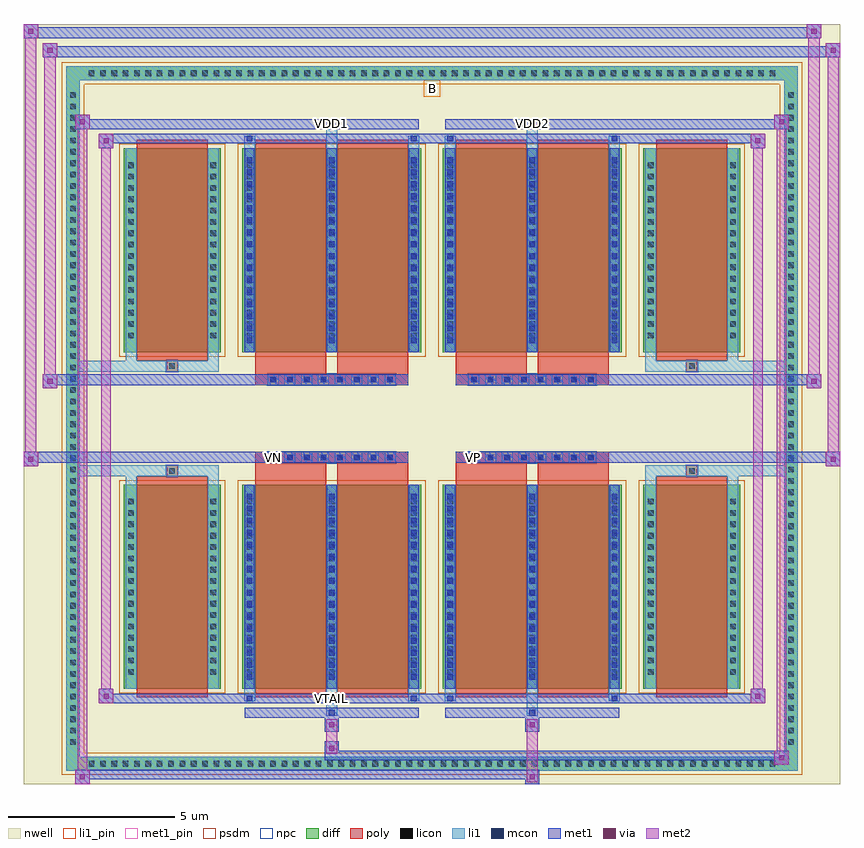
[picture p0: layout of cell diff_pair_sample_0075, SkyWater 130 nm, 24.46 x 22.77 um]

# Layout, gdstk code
import gdstk
lib = gdstk.Library(unit=1e-6, precision=5e-09)
def R(c, l, rs):  # rectangles x0, y0, x1, y1
    for r in rs: c.add(gdstk.rectangle(r[:2], r[2:], *l))
def A(c, l, x, y, w, h, nx, ny, dx, dy):  # array of equal rectangles
    R(c, l, [(x+i*dx, y+j*dy, x+i*dx+w, y+j*dy+h) for i in range(nx) for j in range(ny)])
def P(c, l, *ps):  # polygons
    for p in ps: c.add(gdstk.Polygon(p, *l))
nwell = (64, 20)
diff = (65, 20)
poly = (66, 20)
licon = (66, 44)
li1_pin = (67, 16)
li1 = (67, 20)
mcon = (67, 44)
met1_pin = (68, 16)
met1 = (68, 20)
via = (68, 44)
met2 = (69, 20)
psdm = (94, 20)
npc = (95, 20)

diff_pair_sample_0075 = lib.new_cell('diff_pair_sample_0075')
R(diff_pair_sample_0075, nwell, [(-12.23,-10.95,12.23,11.82), (-9.55,-9.14,-0.01,-0.8), (0.01,-9.14,9.55,-0.8), (-9.55,0.8,-0.01,9.14), (0.01,0.8,9.55,9.14)])
A(diff_pair_sample_0075, diff, -10.405, -10.55, 0.41, 0.41, 61, 2, 0.34, 20.69)
A(diff_pair_sample_0075, diff, -10.96, -9.895, 0.41, 0.41, 1, 58, 0, 0.34)
A(diff_pair_sample_0075, diff, 10.55, -9.895, 0.41, 0.41, 1, 58, 0, 0.34)
R(diff_pair_sample_0075, diff, [(-10.405,-10.55,10.405,-10.14), (-10.96,-9.895,-10.55,9.895), (10.55,-9.895,10.96,9.895), (-9.24,-8.095,-6.33,-1.985), (-5.69,-8.095,-0.32,-1.985), (0.32,-8.095,5.69,-1.985), (6.33,-8.095,9.24,-1.985), (-9.24,1.985,-6.33,8.095), (-5.69,1.985,-0.32,8.095), (0.32,1.985,5.69,8.095), (6.33,1.985,9.24,8.095), (-10.405,10.14,10.405,10.55)])
P(diff_pair_sample_0075, diff, [(10.96,10.55),(-10.96,10.55),(-10.96,-10.14),(-10.55,-10.14),(-10.55,10.14),(10.55,10.14),(10.55,-10.14),(-10.55,-10.14),(-10.96,-10.14),(-10.96,-10.55),(10.96,-10.55)])
A(diff_pair_sample_0075, poly, -4.92, -1.33, 0.33, 0.33, 8, 2, 0.5, 2.33)
A(diff_pair_sample_0075, poly, 1.09, -1.33, 0.33, 0.33, 8, 2, 0.5, 2.33)
R(diff_pair_sample_0075, poly, [(-8.85,-8.345,-6.72,-1.735), (-5.3,-8.345,-3.17,-1.735), (-2.84,-8.345,-0.71,-1.735), (0.71,-8.345,2.84,-1.735), (3.17,-8.345,5.3,-1.735), (6.72,-8.345,8.85,-1.735), (-7.95,-1.735,-7.62,-1.405), (-7.95,-1.735,-7.62,-1.405), (-5.3,-1.735,-3.17,-1.33), (-2.84,-1.735,-0.71,-1.33), (0.71,-1.735,2.84,-1.33), (3.17,-1.735,5.3,-1.33), (7.62,-1.735,7.95,-1.405), (7.62,-1.735,7.95,-1.405), (-5.3,-1.33,-0.71,-1), (0.71,-1.33,5.3,-1), (-5.3,1,-0.71,1.33), (0.71,1,5.3,1.33), (-5.3,1.33,-3.17,1.735), (-2.84,1.33,-0.71,1.735), (0.71,1.33,2.84,1.735), (3.17,1.33,5.3,1.735), (-7.95,1.405,-7.62,1.735), (-7.95,1.405,-7.62,1.735), (7.62,1.405,7.95,1.735), (7.62,1.405,7.95,1.735), (-8.85,1.735,-6.72,8.345), (-5.3,1.735,-3.17,8.345), (-2.84,1.735,-0.71,8.345), (0.71,1.735,2.84,8.345), (3.17,1.735,5.3,8.345), (6.72,1.735,8.85,8.345)])
A(diff_pair_sample_0075, licon, -10.285, -10.43, 0.17, 0.17, 61, 2, 0.34, 20.69)
A(diff_pair_sample_0075, licon, -10.84, -9.775, 0.17, 0.17, 1, 58, 0, 0.34)
A(diff_pair_sample_0075, licon, 10.67, -9.775, 0.17, 0.17, 1, 58, 0, 0.34)
A(diff_pair_sample_0075, licon, -9.1, -7.675, 0.17, 0.17, 1, 16, 0, 0.34)
A(diff_pair_sample_0075, licon, -6.64, -7.675, 0.17, 0.17, 1, 16, 0, 0.34)
A(diff_pair_sample_0075, licon, -5.55, -7.675, 0.17, 0.17, 3, 16, 2.46, 0.34)
A(diff_pair_sample_0075, licon, 0.46, -7.675, 0.17, 0.17, 3, 16, 2.46, 0.34)
A(diff_pair_sample_0075, licon, 6.47, -7.675, 0.17, 0.17, 1, 16, 0, 0.34)
A(diff_pair_sample_0075, licon, 8.93, -7.675, 0.17, 0.17, 1, 16, 0, 0.34)
A(diff_pair_sample_0075, licon, -4.84, -1.25, 0.17, 0.17, 8, 2, 0.5, 2.33)
A(diff_pair_sample_0075, licon, 1.17, -1.25, 0.17, 0.17, 8, 2, 0.5, 2.33)
A(diff_pair_sample_0075, licon, -9.1, 2.405, 0.17, 0.17, 1, 16, 0, 0.34)
A(diff_pair_sample_0075, licon, -6.64, 2.405, 0.17, 0.17, 1, 16, 0, 0.34)
A(diff_pair_sample_0075, licon, -5.55, 2.405, 0.17, 0.17, 3, 16, 2.46, 0.34)
A(diff_pair_sample_0075, licon, 0.46, 2.405, 0.17, 0.17, 3, 16, 2.46, 0.34)
A(diff_pair_sample_0075, licon, 6.47, 2.405, 0.17, 0.17, 1, 16, 0, 0.34)
A(diff_pair_sample_0075, licon, 8.93, 2.405, 0.17, 0.17, 1, 16, 0, 0.34)
R(diff_pair_sample_0075, licon, [(-7.87,-1.655,-7.7,-1.485), (7.7,-1.655,7.87,-1.485), (-7.87,1.485,-7.7,1.655), (7.7,1.485,7.87,1.655)])
R(diff_pair_sample_0075, li1_pin, [(-0.25,9.64,0.25,10.14)])
A(diff_pair_sample_0075, li1, -10.365, -10.51, 0.33, 0.33, 61, 2, 0.34, 20.69)
A(diff_pair_sample_0075, li1, -10.92, -9.855, 0.33, 0.33, 1, 58, 0, 0.34)
A(diff_pair_sample_0075, li1, 10.59, -9.855, 0.33, 0.33, 1, 58, 0, 0.34)
A(diff_pair_sample_0075, li1, -5.63, -8.095, 0.33, 6.11, 3, 2, 2.46, 10.08)
A(diff_pair_sample_0075, li1, 0.38, -8.095, 0.33, 6.11, 3, 2, 2.46, 10.08)
A(diff_pair_sample_0075, li1, -5.55, -7.825, 0.17, 0.17, 3, 16, 2.46, 0.36)
A(diff_pair_sample_0075, li1, -5.55, -7.825, 0.17, 5.57, 3, 2, 2.46, 10.08)
A(diff_pair_sample_0075, li1, 0.46, -7.825, 0.17, 0.17, 3, 16, 2.46, 0.36)
A(diff_pair_sample_0075, li1, 0.46, -7.825, 0.17, 5.57, 3, 2, 2.46, 10.08)
A(diff_pair_sample_0075, li1, -9.18, -7.755, 0.33, 0.33, 1, 16, 0, 0.34)
A(diff_pair_sample_0075, li1, -6.72, -7.755, 0.33, 0.33, 1, 16, 0, 0.34)
A(diff_pair_sample_0075, li1, -5.63, -7.755, 0.33, 0.33, 3, 16, 2.46, 0.34)
A(diff_pair_sample_0075, li1, 0.38, -7.755, 0.33, 0.33, 3, 16, 2.46, 0.34)
A(diff_pair_sample_0075, li1, 6.39, -7.755, 0.33, 0.33, 1, 16, 0, 0.34)
A(diff_pair_sample_0075, li1, 8.85, -7.755, 0.33, 0.33, 1, 16, 0, 0.34)
A(diff_pair_sample_0075, li1, -4.92, -1.33, 0.33, 0.33, 8, 2, 0.5, 2.33)
A(diff_pair_sample_0075, li1, 1.09, -1.33, 0.33, 0.33, 8, 2, 0.5, 2.33)
A(diff_pair_sample_0075, li1, -5.55, 2.255, 0.17, 0.17, 3, 16, 2.46, 0.36)
A(diff_pair_sample_0075, li1, 0.46, 2.255, 0.17, 0.17, 3, 16, 2.46, 0.36)
A(diff_pair_sample_0075, li1, -9.18, 2.325, 0.33, 0.33, 1, 16, 0, 0.34)
A(diff_pair_sample_0075, li1, -6.72, 2.325, 0.33, 0.33, 1, 16, 0, 0.34)
A(diff_pair_sample_0075, li1, -5.63, 2.325, 0.33, 0.33, 3, 16, 2.46, 0.34)
A(diff_pair_sample_0075, li1, 0.38, 2.325, 0.33, 0.33, 3, 16, 2.46, 0.34)
A(diff_pair_sample_0075, li1, 6.39, 2.325, 0.33, 0.33, 1, 16, 0, 0.34)
A(diff_pair_sample_0075, li1, 8.85, 2.325, 0.33, 0.33, 1, 16, 0, 0.34)
R(diff_pair_sample_0075, li1, [(-10.96,-10.55,-10.55,-10.14), (-10.96,-10.55,-10.55,-10.14), (-10.55,-10.55,10.55,-10.14), (10.55,-10.55,10.96,-10.14), (10.55,-10.55,10.96,-10.14), (-10.96,-10.14,-10.55,10.14), (10.55,-10.14,10.96,10.14), (-3.17,-8.9,-2.84,-8.095), (-3.09,-8.9,-2.92,-8.73), (2.84,-8.9,3.17,-8.095), (2.92,-8.9,3.09,-8.73), (-5.63,-8.47,-5.3,-8.095), (-5.55,-8.47,-5.38,-8.3), (-0.71,-8.47,-0.38,-8.095), (-0.63,-8.47,-0.46,-8.3), (0.38,-8.47,0.71,-8.095), (0.46,-8.47,0.63,-8.3), (5.3,-8.47,5.63,-8.095), (5.38,-8.47,5.55,-8.3), (-9.18,-8.095,-8.85,-1.985), (-6.72,-8.095,-6.39,-1.985), (6.39,-8.095,6.72,-1.985), (8.85,-8.095,9.18,-1.985), (-9.18,-1.985,-8.85,-1.405), (-6.72,-1.985,-6.39,-1.405), (6.39,-1.985,6.72,-1.405), (8.85,-1.985,9.18,-1.405), (-10.96,-1.735,-7.95,-1.405), (-9.18,-1.735,-7.95,-1.405), (-7.95,-1.735,-7.62,-1.405), (-7.62,-1.735,-6.39,-1.405), (6.39,-1.735,7.62,-1.405), (7.62,-1.735,7.95,-1.405), (7.62,-1.735,10.96,-1.405), (7.95,-1.735,9.18,-1.405), (-10.96,1.405,-7.95,1.735), (-9.18,1.405,-7.95,1.735), (-9.18,1.405,-8.85,1.985), (-7.95,1.405,-7.62,1.735), (-7.62,1.405,-6.39,1.735), (-6.72,1.405,-6.39,1.985), (6.39,1.405,7.62,1.735), (6.39,1.405,6.72,1.985), (7.62,1.405,7.95,1.735), (7.62,1.405,10.96,1.735), (7.95,1.405,9.18,1.735), (8.85,1.405,9.18,1.985), (-9.18,1.985,-8.85,8.095), (-6.72,1.985,-6.39,8.095), (6.39,1.985,6.72,8.095), (8.85,1.985,9.18,8.095), (-5.63,8.095,-5.3,8.47), (-3.17,8.095,-2.84,8.9), (-0.71,8.095,-0.38,8.47), (0.38,8.095,0.71,8.47), (2.84,8.095,3.17,8.9), (5.3,8.095,5.63,8.47), (-5.55,8.3,-5.38,8.47), (-0.63,8.3,-0.46,8.47), (0.46,8.3,0.63,8.47), (5.38,8.3,5.55,8.47), (-3.09,8.73,-2.92,8.9), (2.92,8.73,3.09,8.9), (-10.96,10.14,-10.55,10.55), (-10.96,10.14,-10.55,10.55), (-10.55,10.14,10.55,10.55), (10.55,10.14,10.96,10.55), (10.55,10.14,10.96,10.55)])
A(diff_pair_sample_0075, mcon, -5.55, -7.825, 0.17, 0.17, 3, 16, 2.46, 0.36)
A(diff_pair_sample_0075, mcon, 0.46, -7.825, 0.17, 0.17, 3, 16, 2.46, 0.36)
A(diff_pair_sample_0075, mcon, -4.84, -1.25, 0.17, 0.17, 8, 2, 0.5, 2.33)
A(diff_pair_sample_0075, mcon, 1.17, -1.25, 0.17, 0.17, 8, 2, 0.5, 2.33)
A(diff_pair_sample_0075, mcon, -5.55, 2.255, 0.17, 0.17, 3, 16, 2.46, 0.36)
A(diff_pair_sample_0075, mcon, 0.46, 2.255, 0.17, 0.17, 3, 16, 2.46, 0.36)
R(diff_pair_sample_0075, mcon, [(-3.09,-8.9,-2.92,-8.73), (2.92,-8.9,3.09,-8.73), (-5.55,-8.47,-5.38,-8.3), (-0.63,-8.47,-0.46,-8.3), (0.46,-8.47,0.63,-8.3), (5.38,-8.47,5.55,-8.3), (-5.55,8.3,-5.38,8.47), (-0.63,8.3,-0.46,8.47), (0.46,8.3,0.63,8.47), (5.38,8.3,5.55,8.47), (-3.09,8.73,-2.92,8.9), (2.92,8.73,3.09,8.9)])
R(diff_pair_sample_0075, met1_pin, [(-3.14,-8.51,-2.87,-8.24), (-4.89,-1.29,-4.62,-1.02), (1.12,-1.29,1.39,-1.02), (-3.14,8.69,-2.87,8.96), (2.87,8.69,3.14,8.96)])
A(diff_pair_sample_0075, met1, -5.61, -8.095, 0.29, 6.11, 3, 2, 2.46, 10.08)
A(diff_pair_sample_0075, met1, 0.4, -8.095, 0.29, 6.11, 3, 2, 2.46, 10.08)
A(diff_pair_sample_0075, met1, -5.61, -7.885, 0.29, 0.29, 3, 16, 2.46, 0.36)
A(diff_pair_sample_0075, met1, 0.4, -7.885, 0.29, 0.29, 3, 16, 2.46, 0.36)
A(diff_pair_sample_0075, met1, -4.9, -1.31, 0.29, 0.29, 8, 2, 0.5, 2.33)
A(diff_pair_sample_0075, met1, 1.11, -1.31, 0.29, 0.29, 8, 2, 0.5, 2.33)
A(diff_pair_sample_0075, met1, -5.61, 2.195, 0.29, 0.29, 3, 16, 2.46, 0.36)
A(diff_pair_sample_0075, met1, 0.4, 2.195, 0.29, 0.29, 3, 16, 2.46, 0.36)
R(diff_pair_sample_0075, met1, [(-10.69,-10.95,-10.26,-10.52), (2.79,-10.95,3.22,-10.52), (-10.69,-10.81,3.22,-10.52), (10.26,-10.38,10.69,-9.95), (-3.22,-10.24,10.69,-9.95), (-3.22,-10.1,-2.79,-9.67), (-3.22,-9.39,-2.79,-8.96), (2.79,-9.39,3.22,-8.96), (-5.61,-8.96,-0.4,-8.67), (-3.15,-8.96,-2.86,-8.67), (0.4,-8.96,5.61,-8.67), (2.86,-8.96,3.15,-8.67), (-9.98,-8.53,-9.55,-8.1), (-9.98,-8.53,-5.61,-8.24), (-5.61,-8.53,-5.32,-8.24), (-5.61,-8.53,-0.4,-8.24), (-0.69,-8.53,-0.4,-8.24), (-0.4,-8.53,0.4,-8.24), (0.4,-8.53,0.69,-8.24), (0.4,-8.53,5.61,-8.24), (5.32,-8.53,5.61,-8.24), (5.61,-8.53,9.98,-8.24), (9.55,-8.53,9.98,-8.1), (-12.23,-1.43,-11.8,-1), (11.8,-1.43,12.23,-1), (-12.23,-1.33,-0.71,-1), (-5.3,-1.33,-0.71,-1), (0.71,-1.33,5.3,-1), (0.71,-1.33,12.23,-1), (-11.66,0.9,-11.23,1.33), (11.23,0.9,11.66,1.33), (-11.66,1,-5.3,1.33), (-5.3,1,-0.71,1.33), (0.71,1,5.3,1.33), (5.3,1,11.66,1.33), (-9.98,8.1,-9.55,8.53), (9.55,8.1,9.98,8.53), (-9.98,8.24,-5.61,8.53), (-5.61,8.24,-5.32,8.53), (-5.61,8.24,-0.4,8.53), (-0.69,8.24,-0.4,8.53), (-0.4,8.24,0.4,8.53), (0.4,8.24,0.69,8.53), (0.4,8.24,5.61,8.53), (5.32,8.24,5.61,8.53), (5.61,8.24,9.98,8.53), (-10.69,8.67,-10.26,9.1), (-10.69,8.67,-5.61,8.96), (-5.61,8.67,-0.4,8.96), (-3.15,8.67,-2.86,8.96), (0.4,8.67,5.61,8.96), (2.86,8.67,3.15,8.96), (5.61,8.67,10.69,8.96), (10.26,8.67,10.69,9.1), (-11.66,10.82,-11.23,11.25), (-11.66,10.82,-9.55,11.15), (-9.55,10.82,9.55,11.15), (9.55,10.82,12.23,11.15), (11.8,10.82,12.23,11.25), (-12.23,11.39,-11.8,11.82), (-12.23,11.39,-9.55,11.72), (-9.55,11.39,9.55,11.72), (9.55,11.39,11.66,11.72), (11.23,11.39,11.66,11.82)])
R(diff_pair_sample_0075, via, [(-10.55,-10.81,-10.4,-10.66), (2.93,-10.81,3.08,-10.66), (10.4,-10.24,10.55,-10.09), (-3.08,-9.96,-2.93,-9.81), (-3.08,-9.25,-2.93,-9.1), (2.93,-9.25,3.08,-9.1), (-9.84,-8.39,-9.69,-8.24), (9.69,-8.39,9.84,-8.24), (-12.09,-1.29,-11.94,-1.14), (11.94,-1.29,12.09,-1.14), (-11.52,1.04,-11.37,1.19), (11.37,1.04,11.52,1.19), (-9.84,8.24,-9.69,8.39), (9.69,8.24,9.84,8.39), (-10.55,8.81,-10.4,8.96), (10.4,8.81,10.55,8.96), (-11.52,10.96,-11.37,11.11), (11.94,10.96,12.09,11.11), (-12.09,11.53,-11.94,11.68), (11.37,11.53,11.52,11.68)])
R(diff_pair_sample_0075, met2, [(-10.69,-10.95,-10.26,-10.52), (-10.62,-10.95,-10.33,9.1), (-10.33,-10.95,-10.26,-10.52), (-10.64,-10.9,-10.31,-10.57), (2.84,-10.9,3.17,-10.57), (2.84,-10.57,3.17,-9.34), (10.26,-10.38,10.69,-9.95), (10.33,-10.38,10.62,9.1), (10.62,-10.38,10.69,-9.95), (10.31,-10.33,10.64,-10), (-3.17,-10.05,-2.84,-9.72), (-3.17,-9.72,-2.84,-9.34), (-3.17,-9.34,-2.84,-9.01), (2.84,-9.34,3.17,-9.01), (-9.98,-8.53,-9.55,-8.1), (-9.91,-8.53,-9.62,8.53), (-9.62,-8.53,-9.55,-8.1), (9.55,-8.53,9.98,-8.1), (9.62,-8.53,9.91,8.53), (9.91,-8.53,9.98,-8.1), (-9.93,-8.48,-9.6,-8.15), (9.6,-8.48,9.93,-8.15), (-12.23,-1.43,-11.8,-1), (-12.18,-1.43,-11.85,11.82), (-11.85,-1.43,-11.8,-1), (11.8,-1.43,12.23,-1), (11.85,-1.43,12.18,11.25), (12.18,-1.43,12.23,-1), (-12.18,-1.38,-11.85,-1.05), (11.85,-1.38,12.18,-1.05), (-11.66,0.9,-11.23,1.33), (-11.61,0.9,-11.28,11.25), (-11.28,0.9,-11.23,1.33), (11.23,0.9,11.66,1.33), (11.28,0.9,11.61,11.82), (11.61,0.9,11.66,1.33), (-11.61,0.95,-11.28,1.28), (11.28,0.95,11.61,1.28), (-9.98,8.1,-9.55,8.53), (-9.62,8.1,-9.55,8.53), (9.55,8.1,9.98,8.53), (9.91,8.1,9.98,8.53), (-9.93,8.15,-9.6,8.48), (9.6,8.15,9.93,8.48), (-10.69,8.67,-10.26,9.1), (-10.33,8.67,-10.26,9.1), (10.26,8.67,10.69,9.1), (10.62,8.67,10.69,9.1), (-10.64,8.72,-10.31,9.05), (10.31,8.72,10.64,9.05), (-11.66,10.82,-11.23,11.25), (-11.28,10.82,-11.23,11.25), (11.8,10.82,12.23,11.25), (12.18,10.82,12.23,11.25), (-11.61,10.87,-11.28,11.2), (11.85,10.87,12.18,11.2), (-12.23,11.39,-11.8,11.82), (-11.85,11.39,-11.8,11.82), (11.23,11.39,11.66,11.82), (11.61,11.39,11.66,11.82), (-12.18,11.44,-11.85,11.77), (11.28,11.44,11.61,11.77)])
R(diff_pair_sample_0075, psdm, [(-9.37,-8.225,-6.2,-1.855), (-5.82,-8.225,-0.19,-1.855), (0.19,-8.225,5.82,-1.855), (6.2,-8.225,9.37,-1.855), (-9.37,1.855,-6.2,8.225), (-5.82,1.855,-0.19,8.225), (0.19,1.855,5.82,8.225), (6.2,1.855,9.37,8.225)])
P(diff_pair_sample_0075, psdm, [(11.09,10.68),(-11.09,10.68),(-11.09,-10.01),(-10.42,-10.01),(-10.42,10.01),(10.42,10.01),(10.42,-10.01),(-10.42,-10.01),(-11.09,-10.01),(-11.09,-10.68),(11.09,-10.68)])
A(diff_pair_sample_0075, npc, -4.94, -1.35, 0.37, 0.37, 8, 2, 0.5, 2.33)
A(diff_pair_sample_0075, npc, 1.07, -1.35, 0.37, 0.37, 8, 2, 0.5, 2.33)
R(diff_pair_sample_0075, npc, [(-7.97,-1.755,-7.6,-1.385), (7.6,-1.755,7.97,-1.385), (-4.94,-1.35,-4.07,-0.98), (-4.94,-1.35,-4.07,-0.98), (-4.44,-1.35,-3.57,-0.98), (-4.44,-1.35,-3.57,-0.98), (-3.94,-1.35,-3.07,-0.98), (-3.94,-1.35,-3.07,-0.98), (-3.44,-1.35,-2.57,-0.98), (-3.44,-1.35,-2.57,-0.98), (-2.94,-1.35,-2.07,-0.98), (-2.94,-1.35,-2.07,-0.98), (-2.44,-1.35,-1.57,-0.98), (-2.44,-1.35,-1.57,-0.98), (-1.94,-1.35,-1.07,-0.98), (-1.94,-1.35,-1.07,-0.98), (1.07,-1.35,1.94,-0.98), (1.07,-1.35,1.94,-0.98), (1.57,-1.35,2.44,-0.98), (1.57,-1.35,2.44,-0.98), (2.07,-1.35,2.94,-0.98), (2.07,-1.35,2.94,-0.98), (2.57,-1.35,3.44,-0.98), (2.57,-1.35,3.44,-0.98), (3.07,-1.35,3.94,-0.98), (3.07,-1.35,3.94,-0.98), (3.57,-1.35,4.44,-0.98), (3.57,-1.35,4.44,-0.98), (4.07,-1.35,4.94,-0.98), (4.07,-1.35,4.94,-0.98), (-4.94,0.98,-4.07,1.35), (-4.94,0.98,-4.07,1.35), (-4.44,0.98,-3.57,1.35), (-4.44,0.98,-3.57,1.35), (-3.94,0.98,-3.07,1.35), (-3.94,0.98,-3.07,1.35), (-3.44,0.98,-2.57,1.35), (-3.44,0.98,-2.57,1.35), (-2.94,0.98,-2.07,1.35), (-2.94,0.98,-2.07,1.35), (-2.44,0.98,-1.57,1.35), (-2.44,0.98,-1.57,1.35), (-1.94,0.98,-1.07,1.35), (-1.94,0.98,-1.07,1.35), (1.07,0.98,1.94,1.35), (1.07,0.98,1.94,1.35), (1.57,0.98,2.44,1.35), (1.57,0.98,2.44,1.35), (2.07,0.98,2.94,1.35), (2.07,0.98,2.94,1.35), (2.57,0.98,3.44,1.35), (2.57,0.98,3.44,1.35), (3.07,0.98,3.94,1.35), (3.07,0.98,3.94,1.35), (3.57,0.98,4.44,1.35), (3.57,0.98,4.44,1.35), (4.07,0.98,4.94,1.35), (4.07,0.98,4.94,1.35), (-7.97,1.385,-7.6,1.755), (7.6,1.385,7.97,1.755)])
diff_pair_sample_0075.add(gdstk.Label('VTAIL', (-3.005,-8.375), layer=68, texttype=5))
diff_pair_sample_0075.add(gdstk.Label('VN', (-4.755,-1.155), layer=68, texttype=5))
diff_pair_sample_0075.add(gdstk.Label('VP', (1.255,-1.155), layer=68, texttype=5))
diff_pair_sample_0075.add(gdstk.Label('B', (0,9.89), layer=67, texttype=5))
diff_pair_sample_0075.add(gdstk.Label('VDD2', (3.005,8.825), layer=68, texttype=5))
diff_pair_sample_0075.add(gdstk.Label('VDD1', (-3.005,8.825), layer=68, texttype=5))

lib.write_gds('diff_pair_sample_0075.gds')
